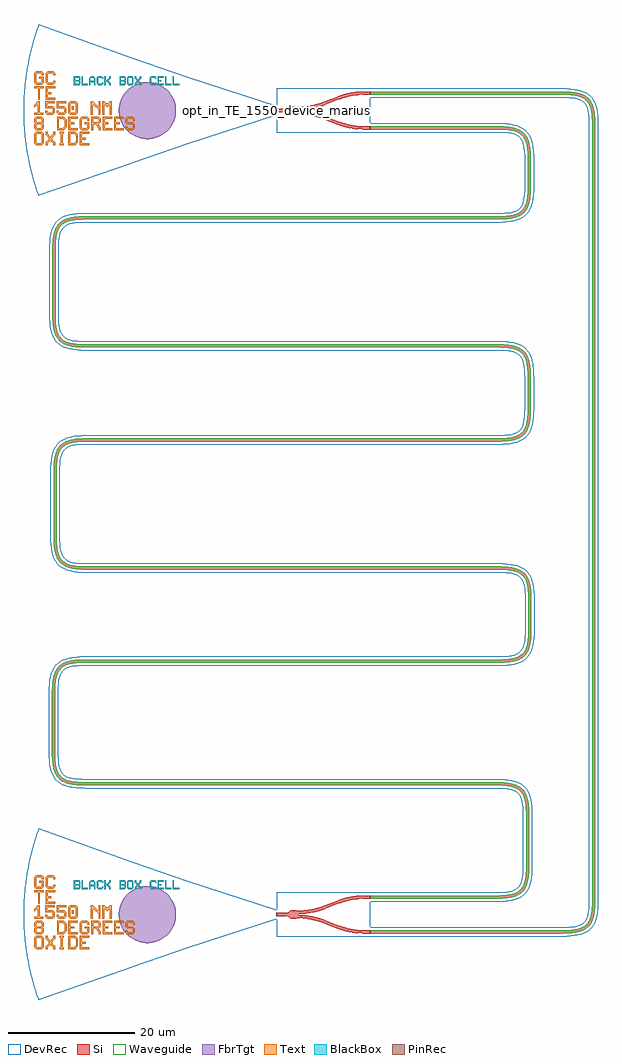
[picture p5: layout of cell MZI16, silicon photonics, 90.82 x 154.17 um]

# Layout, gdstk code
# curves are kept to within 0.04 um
import gdstk
lib = gdstk.Library(unit=1e-6, precision=1e-09)
def R(c, l, rs):  # rectangles x0, y0, x1, y1
    for r in rs: c.add(gdstk.rectangle(r[:2], r[2:], *l))
def P(c, l, *ps):  # polygons
    for p in ps: c.add(gdstk.Polygon(p, *l))
Si = (1, 0)
PinRec = (1, 10)
Waveguide = (1, 99)
Text = (10, 0)
DevRec = (68, 0)
FbrTgt = (81, 0)
BlackBox = (998, 0)

text_1 = lib.new_cell('TEXT$1')
P(text_1, BlackBox, [(0,0),(0,1.4),(0.8,1.4),(1,1.2),(0.2,1.2),(0.2,0.8),(0.7,0.8),(0.8,0.9),(0.8,1.1),(0.7,1.2),(1,1.2),(1,0.8),(0.9,0.7),(1,0.6),(0.2,0.6),(0.2,0.2),(0.7,0.2),(0.8,0.3),(0.8,0.5),(0.7,0.6),(1,0.6),(1,0.2),(0.8,0)],
  [(1.2,0),(1.2,1.4),(1.4,1.4),(1.4,0.2),(2.2,0.2),(2.2,0)],
  [(2.4,0),(2.4,1.1),(2.7,1.4),(3.1,1.4),(3.3,1.2),(2.8,1.2),(2.6,1),(2.6,0.7),(3.2,0.7),(3.2,1),(3,1.2),(3.3,1.2),(3.4,1.1),(3.4,0),(3.2,0),(3.2,0.5),(2.6,0.5),(2.6,0)],
  [(3.8,0),(3.6,0.2),(3.6,1.2),(3.8,1.4),(4.4,1.4),(4.6,1.2),(4.6,1),(4.4,1),(4.4,1.1),(4.3,1.2),(3.9,1.2),(3.8,1.1),(3.8,0.3),(3.9,0.2),(4.3,0.2),(4.4,0.3),(4.4,0.4),(4.6,0.4),(4.6,0.2),(4.4,0)],
  [(4.8,0),(4.8,1.4),(5,1.4),(5,0.8),(5.2,0.8),(5.6,1.2),(5.6,1.4),(5.8,1.4),(5.8,1.1),(5.4,0.7),(5.8,0.3),(5.8,0),(5.6,0),(5.6,0.2),(5.2,0.6),(5,0.6),(5,0)],
  [(7.2,0),(7.2,1.4),(8,1.4),(8.2,1.2),(7.4,1.2),(7.4,0.8),(7.9,0.8),(8,0.9),(8,1.1),(7.9,1.2),(8.2,1.2),(8.2,0.8),(8.1,0.7),(8.2,0.6),(7.4,0.6),(7.4,0.2),(7.9,0.2),(8,0.3),(8,0.5),(7.9,0.6),(8.2,0.6),(8.2,0.2),(8,0)],
  [(8.6,0),(8.4,0.2),(8.4,1.2),(8.6,1.4),(9.2,1.4),(9.4,1.2),(9.4,0.7),(9.2,0.7),(9.2,1.1),(9.1,1.2),(8.7,1.2),(8.6,1.1),(8.6,0.3),(8.7,0.2),(9.1,0.2),(9.2,0.3),(9.2,0.7),(9.4,0.7),(9.4,0.2),(9.2,0)],
  [(9.6,0),(9.6,0.3),(9.9,0.6),(9.9,0.8),(9.6,1.1),(9.6,1.4),(9.8,1.4),(9.8,1.2),(10.1,0.9),(10.4,1.2),(10.4,1.4),(10.6,1.4),(10.6,1.1),(10.3,0.8),(10.3,0.6),(10.6,0.3),(10.6,0),(10.4,0),(10.4,0.2),(10.1,0.5),(9.8,0.2),(9.8,0)],
  [(12.2,0),(12,0.2),(12,1.2),(12.2,1.4),(12.8,1.4),(13,1.2),(13,1),(12.8,1),(12.8,1.1),(12.7,1.2),(12.3,1.2),(12.2,1.1),(12.2,0.3),(12.3,0.2),(12.7,0.2),(12.8,0.3),(12.8,0.4),(13,0.4),(13,0.2),(12.8,0)],
  [(13.2,0),(13.2,1.4),(14.2,1.4),(14.2,1.2),(13.4,1.2),(13.4,0.8),(13.8,0.8),(13.8,0.6),(13.4,0.6),(13.4,0.2),(14.2,0.2),(14.2,0)],
  [(14.4,0),(14.4,1.4),(14.6,1.4),(14.6,0.2),(15.4,0.2),(15.4,0)],
  [(15.6,0),(15.6,1.4),(15.8,1.4),(15.8,0.2),(16.6,0.2),(16.6,0)])

gc_te_1550_8degoxide_bb = lib.new_cell('GC_TE_1550_8degOxide_BB')
R(gc_te_1550_8degoxide_bb, Text, [(-32.313,0.092,-32.013,0.692)])
P(gc_te_1550_8degoxide_bb, Text, [(-37.67,1.71),(-37.67,3.51),(-38.27,3.51),(-38.27,3.81),(-36.77,3.81),(-36.77,3.51),(-37.37,3.51),(-37.37,1.71)],
  [(-37.97,-5.49),(-38.27,-5.19),(-38.27,-3.69),(-37.97,-3.39),(-37.07,-3.39),(-36.77,-3.69),(-36.77,-4.44),(-37.07,-4.44),(-37.07,-3.84),(-37.22,-3.69),(-37.82,-3.69),(-37.97,-3.84),(-37.97,-5.04),(-37.82,-5.19),(-37.22,-5.19),(-37.07,-5.04),(-37.07,-4.44),(-36.77,-4.44),(-36.77,-5.19),(-37.07,-5.49)],
  [(-31.07,-5.49),(-31.07,-3.39),(-29.57,-3.39),(-29.57,-3.69),(-30.77,-3.69),(-30.77,-4.29),(-30.17,-4.29),(-30.17,-4.59),(-30.77,-4.59),(-30.77,-5.19),(-29.57,-5.19),(-29.57,-5.49)],
  [(-32.87,-3.09),(-32.87,-0.99),(-31.37,-0.99),(-31.37,-1.29),(-32.57,-1.29),(-32.57,-1.89),(-31.97,-1.89),(-31.97,-2.19),(-32.57,-2.19),(-32.57,-2.79),(-31.37,-2.79),(-31.37,-3.09)],
  [(-27.47,-3.09),(-27.47,-0.99),(-25.97,-0.99),(-25.97,-1.29),(-27.17,-1.29),(-27.17,-1.89),(-26.57,-1.89),(-26.57,-2.19),(-27.17,-2.19),(-27.17,-2.79),(-25.97,-2.79),(-25.97,-3.09)],
  [(-25.67,-3.09),(-25.67,-0.99),(-24.17,-0.99),(-24.17,-1.29),(-25.37,-1.29),(-25.37,-1.89),(-24.77,-1.89),(-24.77,-2.19),(-25.37,-2.19),(-25.37,-2.79),(-24.17,-2.79),(-24.17,-3.09)],
  [(-36.47,1.71),(-36.47,3.81),(-34.97,3.81),(-34.97,3.51),(-36.17,3.51),(-36.17,2.91),(-35.57,2.91),(-35.57,2.61),(-36.17,2.61),(-36.17,2.01),(-34.97,2.01),(-34.97,1.71)],
  [(-29.313,-0.658),(-29.313,1.442),(-29.013,1.442),(-28.263,0.692),(-28.113,0.692),(-28.113,1.442),(-27.813,1.442),(-27.813,-0.658),(-28.113,-0.658),(-28.113,0.092),(-28.863,0.842),(-29.013,0.842),(-29.013,-0.658)],
  [(-34.22,-5.49),(-34.22,-5.19),(-34.07,-5.19),(-34.07,-3.69),(-34.22,-3.69),(-34.22,-3.39),(-33.62,-3.39),(-33.62,-3.69),(-33.77,-3.69),(-33.77,-5.19),(-33.62,-5.19),(-33.62,-5.49)],
  [(-36.17,4.11),(-36.47,4.41),(-36.47,5.91),(-36.17,6.21),(-35.27,6.21),(-34.97,5.91),(-34.97,5.61),(-35.27,5.61),(-35.27,5.76),(-35.42,5.91),(-36.02,5.91),(-36.17,5.76),(-36.17,4.56),(-36.02,4.41),(-35.42,4.41),(-35.27,4.56),(-35.27,4.71),(-34.97,4.71),(-34.97,4.41),(-35.27,4.11)],
  [(-27.513,-0.658),(-27.513,1.442),(-27.213,1.442),(-26.913,1.142),(-26.613,1.142),(-26.313,1.442),(-26.013,1.442),(-26.013,-0.658),(-26.313,-0.658),(-26.313,0.842),(-26.463,0.842),(-26.763,0.542),(-27.063,0.842),(-27.213,0.842),(-27.213,-0.658)],
  [(-32.613,-0.658),(-32.913,-0.358),(-32.913,1.142),(-32.613,1.442),(-31.713,1.442),(-31.413,1.142),(-32.463,1.142),(-32.613,0.992),(-32.613,-0.208),(-32.463,-0.358),(-31.863,-0.358),(-31.713,-0.208),(-31.713,0.992),(-31.863,1.142),(-31.413,1.142),(-31.413,-0.358),(-31.713,-0.658)],
  [(-32.87,-5.49),(-32.87,-3.39),(-31.82,-3.39),(-31.52,-3.69),(-32.57,-3.69),(-32.57,-5.19),(-31.97,-5.19),(-31.67,-4.89),(-31.67,-3.99),(-31.97,-3.69),(-31.52,-3.69),(-31.37,-3.84),(-31.37,-5.04),(-31.82,-5.49)],
  [(-34.67,-3.09),(-34.67,-0.99),(-33.62,-0.99),(-33.32,-1.29),(-34.37,-1.29),(-34.37,-2.79),(-33.77,-2.79),(-33.47,-2.49),(-33.47,-1.59),(-33.77,-1.29),(-33.32,-1.29),(-33.17,-1.44),(-33.17,-2.64),(-33.62,-3.09)],
  [(-23.57,-3.09),(-23.87,-2.79),(-23.87,-2.49),(-23.57,-2.49),(-23.57,-2.64),(-23.42,-2.79),(-22.82,-2.79),(-22.67,-2.64),(-22.67,-2.34),(-22.82,-2.19),(-23.57,-2.19),(-23.87,-1.89),(-23.87,-1.29),(-23.57,-0.99),(-22.67,-0.99),(-22.37,-1.29),(-22.37,-1.59),(-22.67,-1.59),(-22.67,-1.44),(-22.82,-1.29),(-23.42,-1.29),(-23.57,-1.44),(-23.57,-1.74),(-23.42,-1.89),(-22.67,-1.89),(-22.37,-2.19),(-22.37,-2.79),(-22.67,-3.09)],
  [(-36.213,-0.658),(-36.513,-0.358),(-36.513,-0.058),(-36.213,-0.058),(-36.213,-0.208),(-36.063,-0.358),(-35.463,-0.358),(-35.313,-0.208),(-35.313,0.242),(-35.463,0.392),(-36.513,0.392),(-36.513,1.442),(-35.013,1.442),(-35.013,1.142),(-36.213,1.142),(-36.213,0.692),(-35.313,0.692),(-35.013,0.392),(-35.013,-0.358),(-35.313,-0.658)],
  [(-34.413,-0.658),(-34.713,-0.358),(-34.713,-0.058),(-34.413,-0.058),(-34.413,-0.208),(-34.263,-0.358),(-33.663,-0.358),(-33.513,-0.208),(-33.513,0.242),(-33.663,0.392),(-34.713,0.392),(-34.713,1.442),(-33.213,1.442),(-33.213,1.142),(-34.413,1.142),(-34.413,0.692),(-33.513,0.692),(-33.213,0.392),(-33.213,-0.358),(-33.513,-0.658)],
  [(-37.97,-3.09),(-38.27,-2.79),(-38.27,-2.19),(-38.12,-2.04),(-38.27,-1.89),(-38.27,-1.29),(-37.97,-0.99),(-37.07,-0.99),(-36.77,-1.29),(-37.82,-1.29),(-37.97,-1.44),(-37.97,-1.74),(-37.82,-1.89),(-37.22,-1.89),(-37.07,-1.74),(-37.07,-1.44),(-37.22,-1.29),(-36.77,-1.29),(-36.77,-1.89),(-36.92,-2.04),(-36.77,-2.19),(-37.82,-2.19),(-37.97,-2.34),(-37.97,-2.64),(-37.82,-2.79),(-37.22,-2.79),(-37.07,-2.64),(-37.07,-2.34),(-37.22,-2.19),(-36.77,-2.19),(-36.77,-2.79),(-37.07,-3.09)],
  [(-38.313,-0.658),(-38.313,-0.358),(-37.713,-0.358),(-37.713,0.842),(-37.863,0.842),(-38.163,0.542),(-38.313,0.542),(-38.313,0.842),(-37.713,1.442),(-37.413,1.442),(-37.413,-0.358),(-36.813,-0.358),(-36.813,-0.658)],
  [(-36.47,-5.49),(-36.47,-5.04),(-36.02,-4.59),(-36.02,-4.29),(-36.47,-3.84),(-36.47,-3.39),(-36.17,-3.39),(-36.17,-3.69),(-35.72,-4.14),(-35.27,-3.69),(-35.27,-3.39),(-34.97,-3.39),(-34.97,-3.84),(-35.42,-4.29),(-35.42,-4.59),(-34.97,-5.04),(-34.97,-5.49),(-35.27,-5.49),(-35.27,-5.19),(-35.72,-4.74),(-36.17,-5.19),(-36.17,-5.49)],
  [(-30.77,-3.09),(-31.07,-2.79),(-31.07,-1.29),(-30.77,-0.99),(-29.87,-0.99),(-29.57,-1.29),(-29.57,-1.59),(-29.87,-1.59),(-29.87,-1.44),(-30.02,-1.29),(-30.62,-1.29),(-30.77,-1.44),(-30.77,-2.64),(-30.62,-2.79),(-30.02,-2.79),(-29.87,-2.64),(-29.87,-2.19),(-30.32,-2.19),(-30.32,-1.89),(-29.57,-1.89),(-29.57,-2.79),(-29.87,-3.09)],
  [(-37.97,4.11),(-38.27,4.41),(-38.27,5.91),(-37.97,6.21),(-37.07,6.21),(-36.77,5.91),(-36.77,5.61),(-37.07,5.61),(-37.07,5.76),(-37.22,5.91),(-37.82,5.91),(-37.97,5.76),(-37.97,4.56),(-37.82,4.41),(-37.22,4.41),(-37.07,4.56),(-37.07,5.01),(-37.52,5.01),(-37.52,5.31),(-36.77,5.31),(-36.77,4.41),(-37.07,4.11)],
  [(-29.27,-3.09),(-29.27,-0.99),(-28.07,-0.99),(-27.77,-1.29),(-28.97,-1.29),(-28.97,-1.89),(-28.22,-1.89),(-28.07,-1.74),(-28.07,-1.44),(-28.22,-1.29),(-27.77,-1.29),(-27.77,-1.89),(-28.07,-2.19),(-28.07,-2.34),(-27.77,-2.64),(-27.77,-3.09),(-28.07,-3.09),(-28.07,-2.79),(-28.67,-2.19),(-28.97,-2.19),(-28.97,-3.09)])
P(gc_te_1550_8degoxide_bb, DevRec, [(-37.607,-13.5),(-38.627,-10.245),(-39.378,-6.832),(-39.647,-5.058),(-39.835,-3.274),(-39.969,0.224),(-39.812,3.541),(-39.331,7.097),(-38.557,10.505),(-37.546,13.669),(-22.8,8.353),(-14.109,5.36),(0,0.75),(0,-0.75),(-14.109,-5.36)])
P(gc_te_1550_8degoxide_bb, FbrTgt, [(-20.621,-4.5),(-21.495,-4.37),(-22.326,-4.073),(-23.084,-3.619),(-23.738,-3.026),(-24.264,-2.316),(-24.642,-1.518),(-24.857,-0.661),(-24.9,0.221),(-24.77,1.095),(-24.473,1.926),(-24.019,2.684),(-23.426,3.338),(-22.716,3.864),(-21.918,4.242),(-21.061,4.457),(-20.179,4.5),(-19.305,4.37),(-18.474,4.073),(-17.716,3.619),(-17.062,3.026),(-16.536,2.316),(-16.158,1.518),(-15.943,0.661),(-15.9,-0.221),(-16.03,-1.095),(-16.327,-1.926),(-16.781,-2.684),(-17.374,-3.338),(-18.084,-3.864),(-18.882,-4.242),(-19.739,-4.457)])
gc_te_1550_8degoxide_bb.add(gdstk.FlexPath([(-0.01,0),(0.01,0)], 0.5, ends="flush", simple_path=True, layer=1, datatype=10))  # PinRec
gc_te_1550_8degoxide_bb.add(gdstk.Reference(text_1, (-32,4)))
gc_te_1550_8degoxide_bb.add(gdstk.Label('opt1', (0,0), layer=1, texttype=10))
gc_te_1550_8degoxide_bb.add(gdstk.Label('Component=GC_TE_1550_8degOxide_BB', (-28,-5), layer=68, texttype=0))

ebeam_y_1550 = lib.new_cell('ebeam_y_1550')
R(ebeam_y_1550, Si, [(6.5,-3,7.4,-2.5), (-7.4,-0.25,-6,0.25), (6.5,2.5,7.4,3)])
P(ebeam_y_1550, Si, [(6.458,-3),(6.237,-2.997),(6.237,-2.497),(6.5,-2.5),(6.5,-3)],
  [(5.033,-2.908),(3.59,-2.634),(2.265,-2.21),(2.445,-1.744),(3.731,-2.154),(5.033,-2.404)],
  [(6.233,-2.997),(5.033,-2.908),(5.033,-2.404),(6.237,-2.497)],
  [(2.265,-2.21),(0.055,-1.356),(0.235,-0.89),(2.445,-1.744)],
  [(-0.762,-1.076),(-2.334,-0.724),(-4,-0.6),(-4,-0.1),(-2.381,-0.212),(-0.762,-0.555)],
  [(0.055,-1.356),(-0.762,-1.076),(-0.762,-0.555),(0.235,-0.89)],
  [(6.237,2.497),(6.237,2.997),(6.5,3),(6.5,2.5)],
  [(2.445,1.744),(2.267,2.211),(3.59,2.634),(5.033,2.908),(5.033,2.404),(3.731,2.154)],
  [(5.033,2.404),(5.033,2.908),(6.237,2.997),(6.237,2.497)],
  [(0.235,0.89),(0.055,1.356),(2.265,2.21),(2.445,1.744)],
  [(-4,0.1),(-4,0.6),(-2.334,0.724),(-0.762,1.076),(-0.762,0.555),(-2.381,0.212)],
  [(-0.762,0.555),(-0.762,1.076),(0.055,1.356),(0.235,0.89)],
  [(-5.122,-0.662),(-5.442,-0.374),(-5.808,-0.255),(-6,-0.25),(-6,0.25),(-5.817,0.253),(-5.442,0.374),(-5.122,0.662)],
  [(-4.957,-0.703),(-5.122,-0.662),(-5.122,0.662),(-4.538,0.703),(-4,0.6),(-4,-0.6),(-4.509,-0.701)])
R(ebeam_y_1550, DevRec, [(-7.4,-3.5,7.4,3.5)])
ebeam_y_1550.add(gdstk.FlexPath([(-7.35,0),(-7.45,0)], 0.5, ends="flush", simple_path=True, layer=1, datatype=10))  # PinRec
ebeam_y_1550.add(gdstk.FlexPath([(7.35,2.75),(7.45,2.75)], 0.5, ends="flush", simple_path=True, layer=1, datatype=10))  # PinRec
ebeam_y_1550.add(gdstk.FlexPath([(7.35,-2.75),(7.45,-2.75)], 0.5, ends="flush", simple_path=True, layer=1, datatype=10))  # PinRec
ebeam_y_1550.add(gdstk.Label('opt2', (7.4,2.75), layer=1, texttype=10))
ebeam_y_1550.add(gdstk.Label('opt3', (7.4,-2.75), layer=1, texttype=10))
ebeam_y_1550.add(gdstk.Label('opt1', (-7.4,0), layer=1, texttype=10))
ebeam_y_1550.add(gdstk.Label('Component=ebeam_y_1550', (-6,1.5), layer=68, texttype=0))
ebeam_y_1550.add(gdstk.Label('Lumerical_INTERCONNECT_library=Design kits/ebeam', (-6.86,-2.19), layer=68, texttype=0))
ebeam_y_1550.add(gdstk.Label('Ref: Y Zhang, Opt. Express, 21/1, 2013', (-7.5,-1), layer=10, texttype=0))

waveguide_18 = lib.new_cell('Waveguide$18')
P(waveguide_18, Si, [(54.769,10.5),(54.769,11),(86.278,11.039),(87.551,11.229),(88.165,11.437),(88.565,11.657),(88.894,11.927),(89.165,12.257),(89.385,12.657),(89.593,13.271),(89.768,14.365),(89.821,15.75),(89.821,138.25),(89.767,139.636),(89.592,140.73),(89.384,141.344),(89.164,141.744),(88.894,142.073),(88.564,142.344),(88.164,142.564),(87.55,142.772),(86.277,142.962),(54.769,143),(54.769,143.5),(85.292,143.499),(86.684,143.427),(87.674,143.256),(88.368,143.02),(88.842,142.76),(89.248,142.427),(89.651,141.911),(89.895,141.418),(90.113,140.7),(90.247,139.864),(90.316,138.688),(90.321,15.75),(90.266,14.319),(90.077,13.147),(89.841,12.453),(89.581,11.979),(89.248,11.573),(88.843,11.241),(88.369,10.981),(87.822,10.785),(86.314,10.541)])
P(waveguide_18, Waveguide, [(54.769,10.5),(54.769,11),(86.278,11.039),(87.551,11.229),(88.165,11.437),(88.565,11.657),(88.894,11.927),(89.165,12.257),(89.385,12.657),(89.593,13.271),(89.768,14.365),(89.821,15.75),(89.821,138.25),(89.767,139.636),(89.592,140.73),(89.384,141.344),(89.164,141.744),(88.894,142.073),(88.564,142.344),(88.164,142.564),(87.55,142.772),(86.277,142.962),(54.769,143),(54.769,143.5),(85.292,143.499),(86.684,143.427),(87.674,143.256),(88.368,143.02),(88.842,142.76),(89.248,142.427),(89.651,141.911),(89.895,141.418),(90.113,140.7),(90.247,139.864),(90.316,138.688),(90.321,15.75),(90.266,14.319),(90.077,13.147),(89.841,12.453),(89.581,11.979),(89.248,11.573),(88.843,11.241),(88.369,10.981),(87.822,10.785),(86.314,10.541)])
P(waveguide_18, DevRec, [(54.769,10),(54.769,11.5),(85.071,11.5),(86.302,11.543),(87.265,11.676),(88.23,12.036),(88.447,12.193),(88.786,12.592),(89.146,13.557),(89.279,14.52),(89.321,15.75),(89.321,138.25),(89.223,139.995),(89.045,140.826),(88.925,141.146),(88.628,141.626),(88.446,141.808),(87.966,142.105),(86.815,142.403),(85.72,142.49),(54.769,142.5),(54.769,144),(85.071,144),(86.421,143.954),(87.58,143.791),(88.58,143.473),(89.021,143.239),(89.42,142.948),(90.059,142.201),(90.293,141.76),(90.611,140.76),(90.81,138.952),(90.821,15.75),(90.775,14.4),(90.612,13.241),(90.294,12.241),(90.06,11.8),(89.421,11.053),(89.022,10.762),(88.099,10.346),(87.581,10.21),(86.422,10.047),(85.084,10)])
waveguide_18.add(gdstk.FlexPath([(54.779,143.25),(54.759,143.25)], 0.5, ends="flush", simple_path=True, layer=1, datatype=10))  # PinRec
waveguide_18.add(gdstk.FlexPath([(54.779,10.75),(54.759,10.75)], 0.5, ends="flush", simple_path=True, layer=1, datatype=10))  # PinRec
waveguide_18.add(gdstk.Label('opt1', (54.769,143.25), layer=1, texttype=10))
waveguide_18.add(gdstk.Label('opt2', (54.769,10.75), layer=1, texttype=10))
waveguide_18.add(gdstk.Label('Lumerical_INTERCONNECT_library=Design kits/EBeam', (54.769,143.15), layer=68, texttype=0))
waveguide_18.add(gdstk.Label('Component=ebeam_wg_integral_1550', (54.769,143.35), layer=68, texttype=0))
waveguide_18.add(gdstk.Label('cellName=Waveguide', (54.769,143.45), layer=68, texttype=0))
waveguide_18.add(gdstk.Label('Spice_param:wg_length=0.000200001 wg_width=5e-07 points="[[54.769,143.25],[90.071,143.25],[90.071,10.75],[54.769,10.75]]" radius=5e-06', (54.769,143.25), layer=68, texttype=0))
waveguide_18.add(gdstk.Label('Length=200.001 (microns)', (54.769,142.65), layer=68, texttype=0))
waveguide_18.add(gdstk.Label('waveguide_type=Strip TE 1550 nm, w=500 nm', (54.769,143.05), layer=68, texttype=0))

waveguide_23 = lib.new_cell('Waveguide$23')
P(waveguide_23, Si, [(54.769,16),(54.769,16.5),(75.469,16.518),(76.368,16.591),(77.119,16.729),(77.733,16.937),(78.222,17.22),(78.605,17.583),(78.953,18.157),(79.194,18.909),(79.336,19.865),(79.388,21.033),(79.389,29.15),(79.335,30.536),(79.124,31.763),(78.732,32.644),(78.221,33.181),(77.732,33.464),(76.98,33.705),(76.024,33.847),(74.856,33.899),(9.736,33.9),(8.307,33.956),(7.135,34.145),(6.571,34.326),(6.078,34.57),(5.656,34.884),(5.306,35.27),(5.028,35.728),(4.816,36.257),(4.562,37.537),(4.49,38.929),(4.499,49.178),(4.665,50.823),(5.029,51.953),(5.562,52.707),(5.968,53.04),(6.442,53.3),(7.609,53.635),(9.092,53.771),(74.989,53.78),(76.196,53.819),(77.186,53.946),(78.19,54.268),(78.572,54.5),(78.886,54.784),(79.35,55.549),(79.627,56.641),(79.738,58.313),(79.7,64.437),(79.474,65.843),(79.302,66.324),(79.019,66.813),(78.482,67.324),(77.73,67.677),(76.717,67.89),(75.416,67.976),(9.985,67.98),(8.556,68.036),(7.384,68.225),(6.82,68.406),(6.327,68.65),(5.636,69.247),(5.34,69.687),(5.112,70.198),(4.832,71.44),(4.739,73.009),(4.74,83.683),(4.812,85.074),(5.023,86.211),(5.219,86.758),(5.556,87.341),(5.906,87.727),(6.328,88.041),(6.821,88.285),(7.539,88.503),(8.375,88.637),(9.341,88.701),(74.889,88.71),(76.096,88.749),(77.086,88.876),(78.09,89.198),(78.472,89.43),(78.786,89.714),(79.203,90.367),(79.502,91.416),(79.635,93.033),(79.629,98.952),(79.473,100.517),(79.151,101.521),(78.919,101.903),(78.635,102.217),(77.982,102.634),(76.933,102.933),(75.52,103.061),(9.806,103.07),(8.377,103.126),(7.205,103.315),(6.641,103.496),(6.148,103.74),(5.457,104.337),(4.984,105.153),(4.677,106.357),(4.56,108.099),(4.559,118.543),(4.6,119.783),(4.705,120.671),(4.887,121.434),(5.162,122.084),(5.543,122.623),(5.929,122.973),(6.512,123.31),(7.206,123.546),(8.019,123.696),(8.958,123.773),(74.899,123.79),(76.106,123.829),(77.241,123.986),(78.203,124.331),(78.567,124.575),(78.93,124.958),(79.213,125.447),(79.385,125.928),(79.611,127.334),(79.647,132.967),(79.536,134.64),(79.345,135.492),(79.108,136.054),(78.795,136.497),(78.299,136.903),(77.763,137.156),(77.24,137.305),(75.53,137.491),(54.769,137.5),(54.769,138),(75.12,137.999),(77.029,137.855),(77.792,137.673),(78.442,137.398),(78.981,137.017),(79.408,136.522),(79.723,135.918),(79.941,135.2),(80.075,134.364),(80.139,133.398),(80.14,127.893),(80.055,126.75),(79.905,125.937),(79.547,124.997),(79.076,124.363),(78.443,123.893),(77.503,123.535),(76.331,123.346),(74.902,123.29),(8.98,123.273),(8.081,123.2),(7.33,123.062),(6.716,122.854),(6.227,122.571),(5.844,122.208),(5.6,121.844),(5.363,121.282),(5.197,120.585),(5.098,119.747),(5.059,118.54),(5.06,108.103),(5.149,106.592),(5.403,105.456),(5.843,104.653),(6.141,104.355),(6.505,104.111),(7.329,103.799),(8.423,103.624),(9.809,103.57),(75.536,103.561),(77.019,103.425),(78.186,103.09),(78.66,102.83),(79.066,102.497),(79.599,101.743),(79.963,100.613),(80.129,98.968),(80.135,93.023),(79.994,91.33),(79.659,90.163),(79.156,89.378),(78.433,88.813),(77.922,88.585),(77.339,88.418),(76.321,88.266),(74.892,88.21),(9.357,88.201),(7.792,88.045),(7.124,87.866),(6.685,87.67),(6.321,87.426),(5.958,87.043),(5.675,86.554),(5.503,86.073),(5.31,85.02),(5.24,83.677),(5.239,73.013),(5.328,71.502),(5.582,70.366),(6.022,69.563),(6.32,69.265),(6.684,69.021),(7.508,68.709),(8.602,68.534),(9.988,68.48),(75.426,68.476),(76.952,68.362),(78.021,68.106),(78.869,67.663),(79.498,67.002),(79.758,66.528),(79.994,65.834),(80.211,64.28),(80.238,58.309),(80.121,56.567),(79.814,55.363),(79.57,54.87),(79.256,54.448),(78.533,53.883),(78.022,53.655),(77.439,53.488),(76.421,53.336),(74.992,53.28),(9.312,53.276),(7.85,53.168),(6.758,52.891),(5.993,52.427),(5.709,52.113),(5.477,51.731),(5.155,50.727),(4.999,49.162),(4.99,38.933),(5.06,37.591),(5.292,36.409),(5.708,35.568),(5.992,35.254),(6.338,34.998),(7.259,34.629),(8.353,34.454),(9.739,34.4),(75.076,34.396),(76.252,34.327),(77.088,34.193),(77.936,33.92),(78.519,33.583),(79.148,32.922),(79.561,32.044),(79.815,30.764),(79.889,29.153),(79.888,21.029),(79.816,19.637),(79.645,18.647),(79.409,17.953),(79.072,17.37),(78.52,16.818),(77.937,16.481),(77.243,16.245),(76.43,16.095),(75.287,16.01)])
P(waveguide_23, Waveguide, [(54.769,16),(54.769,16.5),(75.469,16.518),(76.368,16.591),(77.119,16.729),(77.733,16.937),(78.222,17.22),(78.605,17.583),(78.953,18.157),(79.194,18.909),(79.336,19.865),(79.388,21.033),(79.389,29.15),(79.335,30.536),(79.124,31.763),(78.732,32.644),(78.221,33.181),(77.732,33.464),(76.98,33.705),(76.024,33.847),(74.856,33.899),(9.736,33.9),(8.307,33.956),(7.135,34.145),(6.571,34.326),(6.078,34.57),(5.656,34.884),(5.306,35.27),(5.028,35.728),(4.816,36.257),(4.562,37.537),(4.49,38.929),(4.499,49.178),(4.665,50.823),(5.029,51.953),(5.562,52.707),(5.968,53.04),(6.442,53.3),(7.609,53.635),(9.092,53.771),(74.989,53.78),(76.196,53.819),(77.186,53.946),(78.19,54.268),(78.572,54.5),(78.886,54.784),(79.35,55.549),(79.627,56.641),(79.738,58.313),(79.7,64.437),(79.474,65.843),(79.302,66.324),(79.019,66.813),(78.482,67.324),(77.73,67.677),(76.717,67.89),(75.416,67.976),(9.985,67.98),(8.556,68.036),(7.384,68.225),(6.82,68.406),(6.327,68.65),(5.636,69.247),(5.34,69.687),(5.112,70.198),(4.832,71.44),(4.739,73.009),(4.74,83.683),(4.812,85.074),(5.023,86.211),(5.219,86.758),(5.556,87.341),(5.906,87.727),(6.328,88.041),(6.821,88.285),(7.539,88.503),(8.375,88.637),(9.341,88.701),(74.889,88.71),(76.096,88.749),(77.086,88.876),(78.09,89.198),(78.472,89.43),(78.786,89.714),(79.203,90.367),(79.502,91.416),(79.635,93.033),(79.629,98.952),(79.473,100.517),(79.151,101.521),(78.919,101.903),(78.635,102.217),(77.982,102.634),(76.933,102.933),(75.52,103.061),(9.806,103.07),(8.377,103.126),(7.205,103.315),(6.641,103.496),(6.148,103.74),(5.457,104.337),(4.984,105.153),(4.677,106.357),(4.56,108.099),(4.559,118.543),(4.6,119.783),(4.705,120.671),(4.887,121.434),(5.162,122.084),(5.543,122.623),(5.929,122.973),(6.512,123.31),(7.206,123.546),(8.019,123.696),(8.958,123.773),(74.899,123.79),(76.106,123.829),(77.241,123.986),(78.203,124.331),(78.567,124.575),(78.93,124.958),(79.213,125.447),(79.385,125.928),(79.611,127.334),(79.647,132.967),(79.536,134.64),(79.345,135.492),(79.108,136.054),(78.795,136.497),(78.299,136.903),(77.763,137.156),(77.24,137.305),(75.53,137.491),(54.769,137.5),(54.769,138),(75.12,137.999),(77.029,137.855),(77.792,137.673),(78.442,137.398),(78.981,137.017),(79.408,136.522),(79.723,135.918),(79.941,135.2),(80.075,134.364),(80.139,133.398),(80.14,127.893),(80.055,126.75),(79.905,125.937),(79.547,124.997),(79.076,124.363),(78.443,123.893),(77.503,123.535),(76.331,123.346),(74.902,123.29),(8.98,123.273),(8.081,123.2),(7.33,123.062),(6.716,122.854),(6.227,122.571),(5.844,122.208),(5.6,121.844),(5.363,121.282),(5.197,120.585),(5.098,119.747),(5.059,118.54),(5.06,108.103),(5.149,106.592),(5.403,105.456),(5.843,104.653),(6.141,104.355),(6.505,104.111),(7.329,103.799),(8.423,103.624),(9.809,103.57),(75.536,103.561),(77.019,103.425),(78.186,103.09),(78.66,102.83),(79.066,102.497),(79.599,101.743),(79.963,100.613),(80.129,98.968),(80.135,93.023),(79.994,91.33),(79.659,90.163),(79.156,89.378),(78.433,88.813),(77.922,88.585),(77.339,88.418),(76.321,88.266),(74.892,88.21),(9.357,88.201),(7.792,88.045),(7.124,87.866),(6.685,87.67),(6.321,87.426),(5.958,87.043),(5.675,86.554),(5.503,86.073),(5.31,85.02),(5.24,83.677),(5.239,73.013),(5.328,71.502),(5.582,70.366),(6.022,69.563),(6.32,69.265),(6.684,69.021),(7.508,68.709),(8.602,68.534),(9.988,68.48),(75.426,68.476),(76.952,68.362),(78.021,68.106),(78.869,67.663),(79.498,67.002),(79.758,66.528),(79.994,65.834),(80.211,64.28),(80.238,58.309),(80.121,56.567),(79.814,55.363),(79.57,54.87),(79.256,54.448),(78.533,53.883),(78.022,53.655),(77.439,53.488),(76.421,53.336),(74.992,53.28),(9.312,53.276),(7.85,53.168),(6.758,52.891),(5.993,52.427),(5.709,52.113),(5.477,51.731),(5.155,50.727),(4.999,49.162),(4.99,38.933),(5.06,37.591),(5.292,36.409),(5.708,35.568),(5.992,35.254),(6.338,34.998),(7.259,34.629),(8.353,34.454),(9.739,34.4),(75.076,34.396),(76.252,34.327),(77.088,34.193),(77.936,33.92),(78.519,33.583),(79.148,32.922),(79.561,32.044),(79.815,30.764),(79.889,29.153),(79.888,21.029),(79.816,19.637),(79.645,18.647),(79.409,17.953),(79.072,17.37),(78.52,16.818),(77.937,16.481),(77.243,16.245),(76.43,16.095),(75.287,16.01)])
P(waveguide_23, DevRec, [(54.769,15.5),(54.769,17),(75.289,17.011),(76.833,17.176),(77.535,17.396),(78.015,17.693),(78.354,18.092),(78.614,18.675),(78.847,20.02),(78.889,29.15),(78.846,30.381),(78.713,31.344),(78.493,32.046),(78.196,32.526),(78.014,32.708),(77.534,33.005),(76.832,33.225),(75.869,33.358),(74.639,33.4),(9.726,33.4),(7.786,33.512),(6.711,33.746),(5.788,34.162),(5.041,34.801),(4.516,35.641),(4.334,36.123),(4.1,37.198),(3.989,39.149),(4,49.232),(4.199,51.04),(4.517,52.04),(5.042,52.88),(5.39,53.228),(6.23,53.753),(7.23,54.071),(9.038,54.27),(74.989,54.28),(76.22,54.323),(77.183,54.456),(77.885,54.676),(78.365,54.973),(78.547,55.155),(78.844,55.635),(78.964,55.955),(79.142,56.786),(79.239,58.531),(79.228,63.88),(79.063,65.424),(78.703,66.389),(78.546,66.606),(78.147,66.945),(77.564,67.205),(76.733,67.383),(75.638,67.47),(9.975,67.48),(8.035,67.592),(6.96,67.826),(6.037,68.242),(5.29,68.881),(4.765,69.721),(4.583,70.203),(4.349,71.278),(4.238,73.229),(4.238,83.473),(4.35,85.413),(4.584,86.488),(5,87.411),(5.291,87.81),(6.038,88.449),(6.479,88.683),(7.479,89.001),(9.287,89.2),(74.889,89.21),(76.12,89.253),(77.083,89.386),(77.785,89.606),(78.265,89.903),(78.447,90.085),(78.744,90.565),(78.864,90.885),(79.042,91.716),(79.139,93.461),(79.128,98.97),(79.041,100.065),(78.743,101.216),(78.446,101.696),(78.264,101.878),(77.784,102.175),(76.633,102.473),(75.538,102.56),(9.796,102.57),(7.856,102.682),(6.781,102.916),(5.858,103.332),(5.111,103.971),(4.586,104.811),(4.404,105.293),(4.17,106.368),(4.059,108.319),(4.059,118.553),(4.106,119.891),(4.269,121.05),(4.587,122.05),(4.821,122.491),(5.112,122.89),(5.859,123.529),(6.3,123.763),(7.3,124.081),(9.108,124.28),(74.899,124.29),(76.13,124.333),(77.093,124.466),(78.058,124.826),(78.275,124.983),(78.614,125.382),(78.974,126.347),(79.107,127.31),(79.149,132.75),(79.051,134.495),(78.753,135.646),(78.456,136.126),(78.057,136.465),(77.092,136.825),(75.548,136.99),(54.769,137),(54.769,138.5),(74.899,138.5),(76.249,138.454),(77.408,138.291),(78.408,137.973),(78.849,137.739),(79.248,137.448),(79.887,136.701),(80.121,136.26),(80.439,135.26),(80.602,134.101),(80.649,132.763),(80.639,127.839),(80.538,126.588),(80.304,125.513),(79.888,124.59),(79.249,123.843),(78.409,123.318),(77.409,123),(76.25,122.837),(74.912,122.79),(9.16,122.78),(7.616,122.615),(6.651,122.255),(6.434,122.098),(6.095,121.699),(5.735,120.734),(5.602,119.771),(5.559,118.54),(5.559,108.321),(5.656,106.576),(5.834,105.745),(5.954,105.425),(6.251,104.945),(6.433,104.763),(6.913,104.466),(7.615,104.246),(8.578,104.113),(9.809,104.07),(75.59,104.06),(77.398,103.861),(78.398,103.543),(79.238,103.018),(79.586,102.67),(80.111,101.83),(80.429,100.83),(80.628,99.022),(80.629,92.759),(80.43,90.951),(80.112,89.951),(79.587,89.111),(78.84,88.472),(78.399,88.238),(77.399,87.92),(76.24,87.757),(74.902,87.71),(9.339,87.7),(8.244,87.613),(7.093,87.315),(6.613,87.018),(6.431,86.836),(6.134,86.356),(6.014,86.036),(5.836,85.205),(5.738,83.46),(5.78,72),(5.913,71.037),(6.273,70.072),(6.43,69.855),(6.829,69.516),(7.794,69.156),(8.757,69.023),(9.988,68.98),(75.69,68.97),(77.498,68.771),(78.498,68.453),(79.338,67.928),(79.977,67.181),(80.393,66.258),(80.529,65.74),(80.692,64.581),(80.739,58.529),(80.628,56.578),(80.394,55.503),(80.212,55.021),(79.687,54.181),(78.94,53.542),(78.499,53.308),(77.499,52.99),(76.34,52.827),(75.002,52.78),(9.09,52.77),(7.995,52.683),(6.844,52.385),(6.364,52.088),(6.182,51.906),(5.885,51.426),(5.587,50.275),(5.5,49.18),(5.531,37.92),(5.664,36.957),(6.024,35.992),(6.181,35.775),(6.58,35.436),(7.545,35.076),(8.508,34.943),(9.739,34.9),(75.34,34.89),(76.591,34.789),(77.666,34.555),(78.589,34.139),(78.988,33.848),(79.627,33.101),(80.043,32.178),(80.277,31.103),(80.389,29.163),(80.389,21.249),(80.278,19.298),(80.044,18.223),(79.862,17.741),(79.337,16.901),(78.989,16.553),(78.59,16.262),(77.667,15.846),(76.592,15.612),(75.341,15.511)])
waveguide_23.add(gdstk.FlexPath([(54.779,137.75),(54.759,137.75)], 0.5, ends="flush", simple_path=True, layer=1, datatype=10))  # PinRec
waveguide_23.add(gdstk.FlexPath([(54.779,16.25),(54.759,16.25)], 0.5, ends="flush", simple_path=True, layer=1, datatype=10))  # PinRec
waveguide_23.add(gdstk.Label('opt1', (54.769,137.75), layer=1, texttype=10))
waveguide_23.add(gdstk.Label('opt2', (54.769,16.25), layer=1, texttype=10))
waveguide_23.add(gdstk.Label('Lumerical_INTERCONNECT_library=Design kits/EBeam', (54.769,137.65), layer=68, texttype=0))
waveguide_23.add(gdstk.Label('Component=ebeam_wg_integral_1550', (54.769,137.85), layer=68, texttype=0))
waveguide_23.add(gdstk.Label('cellName=Waveguide', (54.769,137.95), layer=68, texttype=0))
waveguide_23.add(gdstk.Label('Length=599.999 (microns)', (54.769,137.15), layer=68, texttype=0))
waveguide_23.add(gdstk.Label('waveguide_type=Strip TE 1550 nm, w=500 nm', (54.769,137.55), layer=68, texttype=0))

mzi16 = lib.new_cell('MZI16')
mzi16.add(gdstk.Reference(gc_te_1550_8degoxide_bb, (39.969,13.5)))
mzi16.add(gdstk.Reference(gc_te_1550_8degoxide_bb, (39.969,140.5)))
mzi16.add(gdstk.Reference(ebeam_y_1550, (47.369,140.5)))
mzi16.add(gdstk.Reference(ebeam_y_1550, (47.369,13.5)))
mzi16.add(gdstk.Reference(waveguide_18, (0,0)))
mzi16.add(gdstk.Reference(waveguide_23, (0,0)))
mzi16.add(gdstk.Label('opt_in_TE_1550_device_mariusminnen_MZI16', (39.959,140.5), layer=10, texttype=0))

lib.write_gds('MZI16.gds')
